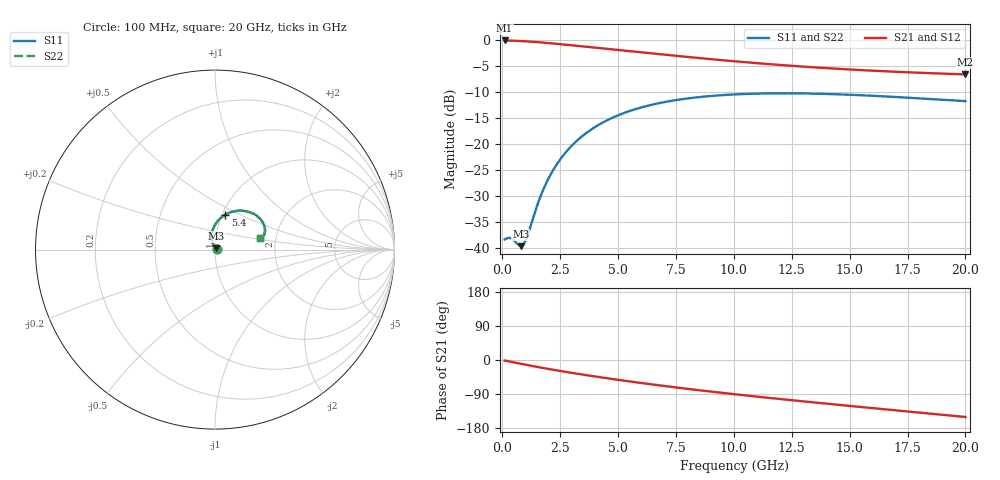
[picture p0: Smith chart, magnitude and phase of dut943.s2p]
! Touchstone file exported from HFSS 2024.1.0
!  File:  C:/UserFiles/LocalFiles/RDL_TSV_Batchsim/temp_RDL_TSV_943_1779963795.aedt
!  Generated:  06:36:19 PM May 28, 2026
!  Design:  RDL_TSV
!  Project:  temp_RDL_TSV_943_1779963795
!  Setup:  Setup1
!  Solution:  Sweep
! Variables:
!  dtsv = 9.26um
!  hbump = 3um
!  htsv = 52.98um
!  ldown = 458.96um
!  lrdl = 227.34um
!  p = 40
!  p1 = 42.53um
!  rhole = 10um
!  subl = 2286.24um
!  t = 450um
!  tdown = 3.77um
!  trdl = 2.96um
!  viad = 10um
!  wdown = 19.28um
!  wrdl = 24.92um
!  xbump = 18um
# GHz S MA R 50.000000
! Terminal data exported
! Port[1] = TM1_1_T1
! Port[2] = TM1_4_T1
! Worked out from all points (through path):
!   200 points, 100 MHz to 20 GHz, reference 50 ohm
!   highest |S21| = -0.11 dB at 100 MHz (marker M1); lowest = -6.6 dB at 20 GHz (marker M2)
!   group delay of S21, straight-line fit = 19.9 ps
!   lowest |S11| = -39.7 dB at 800 MHz (marker M3), VSWR 1.02, Z = 50.7 + j0.795 ohm
!   |S11| at or under -10 dB: start of sweep to end of sweep
!   |S22| runs from -39.7 to -10.3 dB; largest |S21 - S12| = 9.3e-15
!   S11 on the Smith chart (normalised r, x): 100 MHz: 1.02, +0.00; 5.4 GHz: 1.04, +0.42; 20 GHz: 1.64, +0.23
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0.1  0.01205 6.4  0.9877 -1.3  0.9877 -1.3  0.01205 6.4
! Gamma 0 0 0 0
! Port Impedance 50 0 50 0
0.3  0.0125 15.0  0.9852 -3.9  0.9852 -3.9  0.0125 15.0
0.4  0.01231 18.6  0.9835 -5.1  0.9835 -5.1  0.01231 18.6
0.8  0.01039 49.0  0.9748 -10.0  0.9748 -10.0  0.0104 48.9
0.9  0.01065 61.6  0.9721 -11.2  0.9721 -11.2  0.01065 61.5
1  0.01161 74.2  0.9692 -12.4  0.9692 -12.4  0.01161 74.1
1.6  0.02925 107.6  0.9481 -19.3  0.9481 -19.3  0.02921 107.5
1.8  0.03764 109.1  0.94 -21.5  0.94 -21.5  0.03758 109.0
2.1  0.05136 108.5  0.9273 -24.8  0.9273 -24.8  0.05128 108.4
2.4  0.06595 106.2  0.9142 -27.9  0.9142 -27.9  0.06584 106.2
2.7  0.08099 103.2  0.9009 -31.0  0.9009 -31.0  0.08085 103.2
3.1  0.1012 98.7  0.8831 -34.9  0.8831 -34.9  0.101 98.7
3.5  0.1211 94.0  0.8653 -38.8  0.8653 -38.8  0.1209 94.0
4.4  0.1632 83.7  0.8261 -47.1  0.8261 -47.1  0.1629 83.7
5.4  0.2035 73.3  0.7841 -55.7  0.7841 -55.7  0.2032 73.3
6.8  0.2473 60.8  0.729 -67.1  0.729 -67.1  0.2467 60.7
8.4  0.2804 49.0  0.6724 -79.0  0.6724 -79.0  0.2797 48.9
10.1  0.2996 38.9  0.621 -90.8  0.621 -90.8  0.2988 38.8
11.7  0.3063 31.2  0.5807 -101.1  0.5807 -101.1  0.3054 31.1
13.4  0.3045 24.7  0.5458 -111.6  0.5458 -111.6  0.3036 24.6
16.7  0.2849 16.6  0.4971 -131.1  0.4971 -131.1  0.2837 16.5
20  0.2578 14.6  0.466 -150.4  0.466 -150.4  0.2565 14.6
